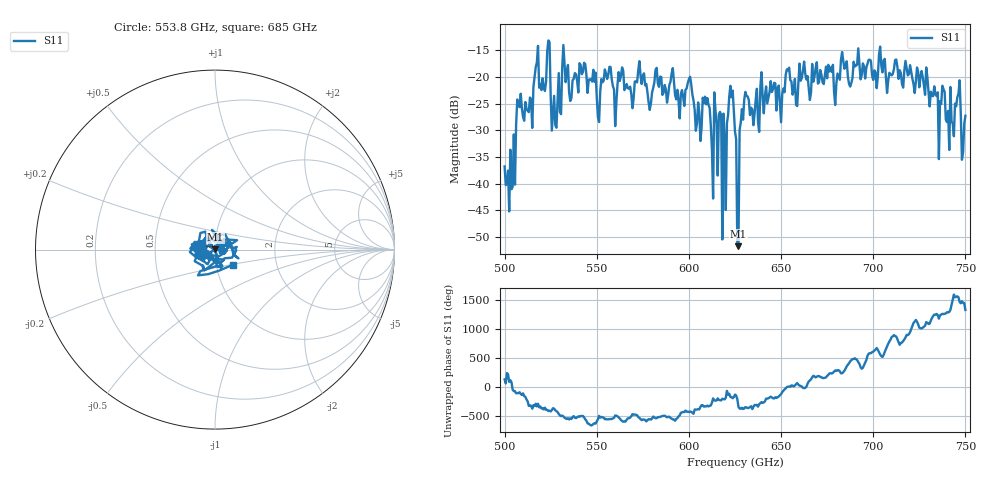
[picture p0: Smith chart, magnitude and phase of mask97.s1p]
!Created with skrf (http://scikit-rf.org).
# GHz S MA R 50.0
!freq magS11 angS11
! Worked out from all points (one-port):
!   401 points, 500 GHz to 750 GHz, reference 50 ohm
!   lowest |S11| = -51.7 dB at 626.9 GHz (marker M1), VSWR 1.01, Z = 50.2 + j0.0712 ohm
!   |S11| at or under -10 dB: start of sweep to end of sweep
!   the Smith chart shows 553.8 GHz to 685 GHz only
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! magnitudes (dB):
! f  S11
! 500 GHz  -36.8
! 503.1 GHz  -33.6
! 507.5 GHz  -25.0
! 513.8 GHz  -23.8
! 516.9 GHz  -18.2
! 521.2 GHz  -22.0
! 523.8 GHz  -13.1
! 526.9 GHz  -23.5
! 531.2 GHz  -18.2
! 542.5 GHz  -19.1
! 551.2 GHz  -28.4
! 562.5 GHz  -20.7
! 593.8 GHz  -22.4
! 610 GHz  -23.9
! 611.9 GHz  -29.1
! 615 GHz  -28.8
! 619.4 GHz  -31.7
! 623.1 GHz  -23.8
! 625 GHz  -30.3
! 626.9 GHz  -51.7
! 628.8 GHz  -26.0
! 631.2 GHz  -23.5
! 656.2 GHz  -23.3
! 680 GHz  -21.2
! 683.8 GHz  -17.0
! 687.5 GHz  -21.8
! 718.8 GHz  -19.7
! 750 GHz  -27.3
